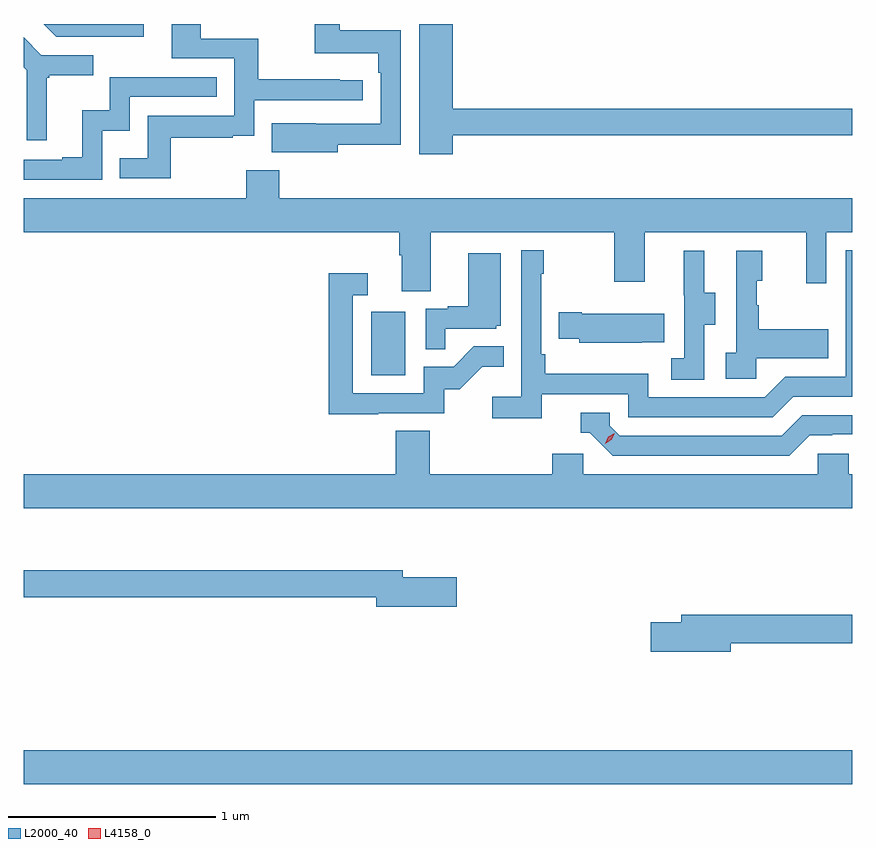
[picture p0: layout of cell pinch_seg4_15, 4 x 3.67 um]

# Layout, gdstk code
import gdstk
lib = gdstk.Library(unit=1e-6, precision=1e-09)
def R(c, l, rs):  # rectangles x0, y0, x1, y1
    for r in rs: c.add(gdstk.rectangle(r[:2], r[2:], *l))
def P(c, l, *ps):  # polygons
    for p in ps: c.add(gdstk.Polygon(p, *l))
L2000_40 = (2000, 40)
L4158_0 = (4158, 0)

pinch_seg4_15 = lib.new_cell('pinch_seg4_15')
R(pinch_seg4_15, L2000_40, [(1107.808,816.8,1111.808,816.964), (1109.486,818.772,1109.65,819.079)])
P(pinch_seg4_15, L2000_40, [(1109.323,819.886),(1109.628,819.886),(1109.628,820.438),(1109.335,820.438),(1109.335,820.468),(1109.214,820.468),(1109.214,820.328),(1109.519,820.328),(1109.519,820.232),(1109.532,820.232),(1109.532,819.987),(1109.219,819.987),(1109.219,819.988),(1109.005,819.988),(1109.005,819.848),(1109.323,819.848)],
  [(1108.387,820.468),(1107.905,820.468),(1107.966,820.407),(1108.182,820.407),(1108.182,820.406),(1108.387,820.406)],
  [(1108.519,819.918),(1108.817,819.918),(1108.817,819.929),(1108.92,819.929),(1108.92,820.101),(1109.446,820.101),(1109.446,820.197),(1109.333,820.197),(1109.333,820.202),(1108.94,820.202),(1108.94,820.398),(1108.663,820.398),(1108.663,820.468),(1108.523,820.468),(1108.523,820.302),(1108.824,820.302),(1108.824,820.026),(1108.408,820.026),(1108.408,819.82),(1108.273,819.82),(1108.273,819.723),(1108.519,819.723)],
  [(1109.878,819.93),(1111.808,819.93),(1111.808,820.058),(1109.878,820.058),(1109.878,820.468),(1109.717,820.468),(1109.717,819.84),(1109.878,819.84)],
  [(1107.919,820.209),(1107.931,820.209),(1107.931,820.22),(1108.144,820.22),(1108.144,820.317),(1107.894,820.317),(1107.808,820.403),(1107.808,820.259),(1107.822,820.245),(1107.822,819.906),(1107.919,819.906)],
  [(1108.188,819.953),(1108.32,819.953),(1108.32,820.116),(1108.739,820.116),(1108.739,820.212),(1108.224,820.212),(1108.224,820.051),(1108.091,820.051),(1108.091,819.826),(1107.995,819.826),(1107.995,819.813),(1107.808,819.813),(1107.808,819.717),(1108.188,819.717)],
  [(1109.042,819.763),(1108.882,819.763),(1108.882,819.628),(1107.808,819.628),(1107.808,819.464),(1109.621,819.464),(1109.621,819.352),(1109.633,819.352),(1109.633,819.178),(1109.773,819.178),(1109.773,819.464),(1110.658,819.464),(1110.658,819.225),(1110.805,819.225),(1110.805,819.464),(1111.586,819.464),(1111.586,819.216),(1111.683,819.216),(1111.683,819.464),(1111.808,819.464),(1111.808,819.628),(1109.042,819.628)],
  [(1110.308,818.682),(1110.726,818.682),(1110.726,818.571),(1111.423,818.571),(1111.522,818.67),(1111.808,818.67),(1111.808,819.375),(1111.776,819.375),(1111.776,818.766),(1111.485,818.766),(1111.386,818.667),(1110.822,818.667),(1110.822,818.779),(1110.326,818.779),(1110.326,818.875),(1110.306,818.875),(1110.306,819.263),(1110.319,819.263),(1110.319,819.376),(1110.21,819.376),(1110.21,818.668),(1110.069,818.668),(1110.069,818.566),(1110.308,818.566)],
  [(1111.092,819.016),(1111.147,819.016),(1111.147,819.171),(1111.093,819.171),(1111.093,819.373),(1110.995,819.373),(1110.995,819.159),(1110.996,819.159),(1110.996,818.855),(1110.933,818.855),(1110.933,818.752),(1111.092,818.752)],
  [(1111.344,818.855),(1111.691,818.855),(1111.691,818.995),(1111.357,818.995),(1111.357,819.11),(1111.347,819.11),(1111.347,819.228),(1111.372,819.228),(1111.372,819.373),(1111.248,819.373),(1111.248,818.882),(1111.197,818.882),(1111.197,818.757),(1111.344,818.757)],
  [(1109.843,818.997),(1110.09,818.997),(1110.09,819.012),(1110.112,819.012),(1110.112,819.361),(1109.954,819.361),(1109.954,819.106),(1109.855,819.106),(1109.855,819.093),(1109.748,819.093),(1109.748,818.899),(1109.843,818.899)],
  [(1109.519,818.589),(1109.838,818.589),(1109.838,818.706),(1109.914,818.706),(1110.021,818.813),(1110.125,818.813),(1110.125,818.912),(1109.981,818.912),(1109.883,818.814),(1109.739,818.814),(1109.739,818.685),(1109.397,818.685),(1109.397,819.159),(1109.47,819.159),(1109.47,819.265),(1109.281,819.265),(1109.281,818.584),(1109.519,818.584)],
  [(1110.791,818.933),(1110.899,818.933),(1110.899,819.07),(1110.502,819.07),(1110.502,819.078),(1110.391,819.078),(1110.391,818.948),(1110.489,818.948),(1110.489,818.93),(1110.791,818.93)],
  [(1111.603,818.484),(1111.71,818.484),(1111.71,818.487),(1111.808,818.487),(1111.808,818.58),(1111.566,818.58),(1111.467,818.481),(1110.684,818.481),(1110.636,818.529),(1110.636,818.592),(1110.497,818.592),(1110.497,818.496),(1110.54,818.496),(1110.651,818.385),(1111.504,818.385)],
  [(1111.808,818.296),(1111.791,818.296),(1111.791,818.394),(1111.641,818.394),(1111.641,818.296),(1110.51,818.296),(1110.51,818.394),(1110.359,818.394),(1110.359,818.296),(1109.768,818.296),(1109.768,818.504),(1109.603,818.504),(1109.603,818.296),(1107.808,818.296),(1107.808,818.132),(1111.808,818.132)],
  [(1109.899,817.797),(1109.638,817.797),(1109.638,817.831),(1107.808,817.831),(1107.808,817.702),(1109.51,817.702),(1109.51,817.655),(1109.899,817.655)],
  [(1111.222,817.48),(1111.808,817.48),(1111.808,817.616),(1110.983,817.616),(1110.983,817.58),(1110.834,817.58),(1110.834,817.438),(1111.222,817.438)])
P(pinch_seg4_15, L4158_0, [(1110.614,818.442),(1110.614,818.442),(1110.63,818.475),(1110.661,818.494),(1110.661,818.494),(1110.661,818.494),(1110.645,818.461),(1110.614,818.442)])

lib.write_gds('pinch_seg4_15.gds')
